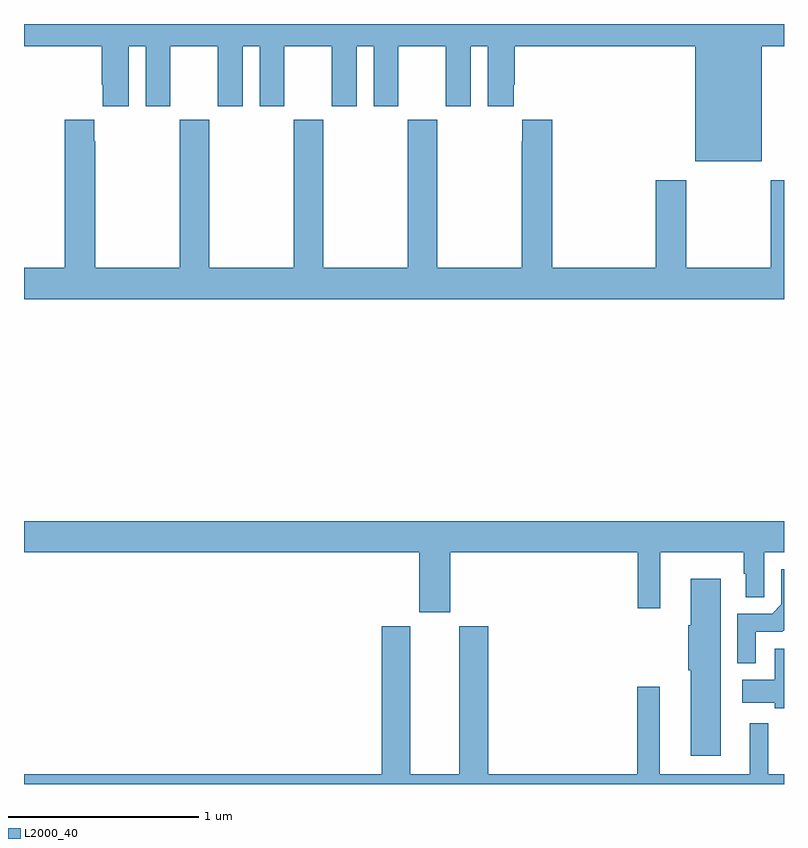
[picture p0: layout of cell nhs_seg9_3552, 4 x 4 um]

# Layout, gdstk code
import gdstk
lib = gdstk.Library(unit=1e-6, precision=1e-09)
def P(c, l, *ps):  # polygons
    for p in ps: c.add(gdstk.Polygon(p, *l))
L2000_40 = (2000, 40)

nhs_seg9_3552 = lib.new_cell('nhs_seg9_3552')
P(nhs_seg9_3552, L2000_40, [(316.882,1232.384),(317,1232.384),(317,1232.5),(313,1232.5),(313,1232.384),(313.409,1232.384),(313.409,1232.179),(313.415,1232.179),(313.415,1232.067),(313.552,1232.067),(313.552,1232.384),(313.64,1232.384),(313.64,1232.067),(313.771,1232.067),(313.771,1232.384),(314.021,1232.384),(314.021,1232.067),(314.152,1232.067),(314.152,1232.384),(314.24,1232.384),(314.24,1232.067),(314.371,1232.067),(314.371,1232.384),(314.621,1232.384),(314.621,1232.067),(314.752,1232.067),(314.752,1232.384),(314.84,1232.384),(314.84,1232.067),(314.971,1232.067),(314.971,1232.384),(315.221,1232.384),(315.221,1232.067),(315.352,1232.067),(315.352,1232.384),(315.44,1232.384),(315.44,1232.067),(315.577,1232.067),(315.577,1232.179),(315.584,1232.179),(315.584,1232.384),(316.532,1232.384),(316.532,1231.778),(316.882,1231.778)],
  [(317,1231.678),(316.93,1231.678),(316.93,1231.216),(316.485,1231.216),(316.485,1231.678),(316.325,1231.678),(316.325,1231.216),(315.779,1231.216),(315.779,1231.996),(315.623,1231.996),(315.623,1231.883),(315.619,1231.883),(315.619,1231.216),(315.174,1231.216),(315.174,1231.996),(315.019,1231.996),(315.019,1231.216),(314.574,1231.216),(314.574,1231.996),(314.419,1231.996),(314.419,1231.216),(313.974,1231.216),(313.974,1231.996),(313.819,1231.996),(313.819,1231.216),(313.374,1231.216),(313.374,1231.883),(313.369,1231.883),(313.369,1231.996),(313.214,1231.996),(313.214,1231.216),(313,1231.216),(313,1231.052),(317,1231.052)],
  [(315.244,1229.72),(316.231,1229.72),(316.231,1229.424),(316.348,1229.424),(316.348,1229.72),(316.788,1229.72),(316.788,1229.607),(316.799,1229.607),(316.799,1229.482),(316.896,1229.482),(316.896,1229.72),(317,1229.72),(317,1229.884),(313,1229.884),(313,1229.72),(315.08,1229.72),(315.08,1229.403),(315.244,1229.403)],
  [(316.851,1229.301),(316.992,1229.301),(317,1229.309),(317,1229.631),(316.986,1229.631),(316.986,1229.445),(316.938,1229.397),(316.755,1229.397),(316.755,1229.135),(316.851,1229.135)],
  [(316.666,1229.581),(316.508,1229.581),(316.508,1229.336),(316.496,1229.336),(316.496,1229.098),(316.508,1229.098),(316.508,1228.65),(316.666,1228.65)],
  [(317,1228.552),(316.918,1228.552),(316.918,1228.819),(316.82,1228.819),(316.82,1228.552),(316.345,1228.552),(316.345,1229.011),(316.228,1229.011),(316.228,1228.552),(315.443,1228.552),(315.443,1229.331),(315.29,1229.331),(315.29,1228.552),(315.034,1228.552),(315.034,1229.331),(314.882,1229.331),(314.882,1228.552),(313,1228.552),(313,1228.5),(317,1228.5)],
  [(317,1229.212),(316.952,1229.212),(316.952,1229.05),(316.779,1229.05),(316.779,1228.928),(316.952,1228.928),(316.952,1228.898),(317,1228.898)])

lib.write_gds('nhs_seg9_3552.gds')
